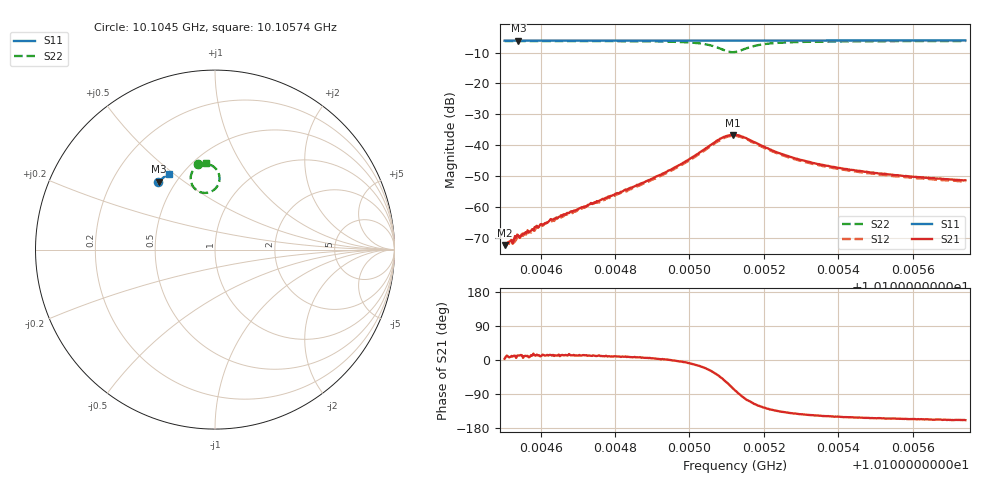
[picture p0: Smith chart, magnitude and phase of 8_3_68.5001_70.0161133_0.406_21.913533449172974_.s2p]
#  HZ  S  RI  R  50.00
! Rohde & Schwarz Vector Network Analyzer
! Rohde-Schwarz,ZNB20-2Port,1311601062101988,3.16
! Created: UTC 3/20/2024, 4:48:55 PM
! freq[Hz]  re:S11  im:S11  re:S21  im:S21  re:S12  im:S12  re:S22  im:S22
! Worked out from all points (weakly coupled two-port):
!   401 points, 10.1045 GHz to 10.10574 GHz, reference 50 ohm
!   highest |S21| = -36.69 dB at 10.10512 GHz (marker M1); lowest = -72.4 dB at 10.1045 GHz (marker M2)
!   lowest |S11| = -6.1 dB at 10.10454 GHz (marker M3), VSWR 2.94, Z = 20.2 + j20.2 ohm
!   |S11| at or under -10 dB: nowhere
!   |S22| runs from -9.9 to -6.3 dB; largest |S21 - S12| = 0.0016
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1.0104503e10  -0.3165 0.3776  0.00024 1.38e-05  0.000227 4.6e-05  -0.0972 0.4753
1.0104525e10  -0.3155 0.3786  0.000248 3.94e-05  0.000252 7.13e-05  -0.0953 0.4758
1.0104534e10  -0.3152 0.379  0.000315 3.05e-05  0.00028 8.24e-05  -0.0943 0.4759
1.010454e10  -0.3148 0.379  0.000334 7.13e-05  0.000314 8.53e-05  -0.0939 0.476
1.0104618e10  -0.311 0.3823  0.000533 0.000128  0.000539 0.00015  -0.0863 0.4775
1.010463e10  -0.3108 0.3829  0.00061 0.000128  0.000557 0.000167  -0.085 0.4777
1.0104711e10  -0.3069 0.3861  0.000966 0.000202  0.000886 0.000274  -0.0759 0.4787
1.0104828e10  -0.3015 0.3907  0.00188 0.000309  0.00172 0.000427  -0.0584 0.4792
1.0104918e10  -0.297 0.3942  0.00322 0.000147  0.00306 0.000412  -0.0378 0.4763
1.0104989e10  -0.2935 0.397  0.0054 -0.000585  0.00519 -8.24e-05  -0.0107 0.4642
1.0105033e10  -0.2911 0.3986  0.00757 -0.00241  0.00744 -0.0016  0.0127 0.44
1.0105067e10  -0.2894 0.3997  0.00913 -0.00614  0.00927 -0.00489  0.0253 0.3963
1.0105095e10  -0.2881 0.4002  0.00794 -0.0112  0.00873 -0.00987  0.00447 0.3423
1.0105116e10  -0.2874 0.4007  0.00394 -0.0141  0.00528 -0.0132  -0.0449 0.3165
1.0105122e10  -0.2873 0.4008  0.00248 -0.0144  0.00378 -0.0135  -0.0616 0.3161
1.0105156e10  -0.2861 0.4022  -0.00351 -0.0119  -0.00234 -0.012  -0.1242 0.3549
1.0105203e10  -0.284 0.4042  -0.00543 -0.00747  -0.00462 -0.00752  -0.1341 0.4127
1.0105265e10  -0.2812 0.4069  -0.00502 -0.00434  -0.00443 -0.00458  -0.118 0.4471
1.010533e10  -0.2779 0.4092  -0.00427 -0.00293  -0.00383 -0.00317  -0.1026 0.4621
1.0105414e10  -0.2737 0.4124  -0.00362 -0.00202  -0.00328 -0.00225  -0.0878 0.4711
1.0105537e10  -0.2676 0.4167  -0.00302 -0.00143  -0.00276 -0.00163  -0.072 0.4777
1.0105742e10  -0.2575 0.4237  -0.00251 -0.000972  -0.00229 -0.00115  -0.0522 0.4828
